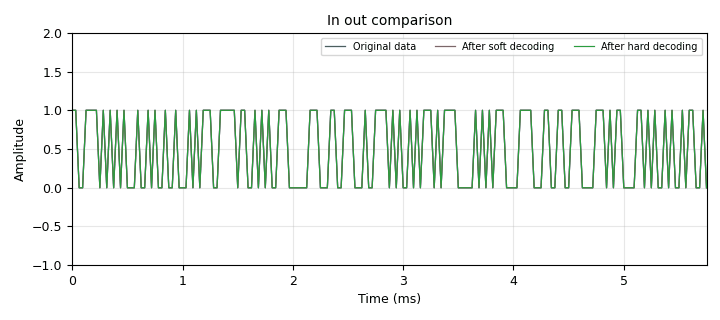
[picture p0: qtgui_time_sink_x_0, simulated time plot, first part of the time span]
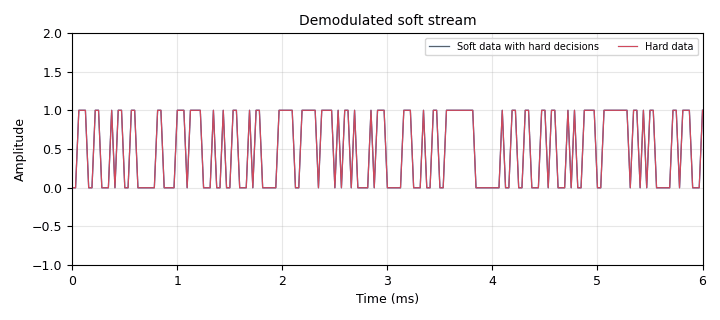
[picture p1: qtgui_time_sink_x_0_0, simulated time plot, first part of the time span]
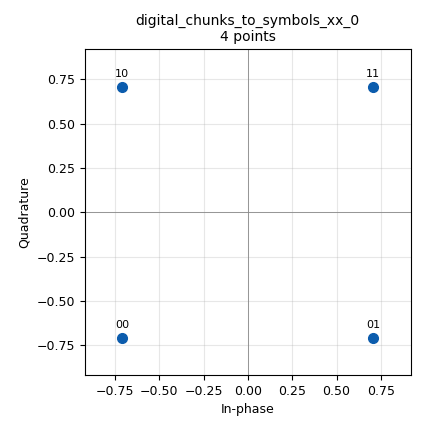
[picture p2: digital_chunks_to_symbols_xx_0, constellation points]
<?xml version='1.0' encoding='utf-8'?>
<?grc format='1' created='3.7.11'?>
<flow_graph>
<block>
<key>options</key>
<param><key>id</key><value>test_fec</value></param>
<param><key>generate_options</key><value>qt_gui</value></param>
</block>
<block>
<key>variable</key>
<param><key>id</key><value>constel</value></param>
<param><key>value</key><value>digital.constellation_qpsk()</value></param>
</block>
<block>
<key>variable_cc_decoder_def</key>
<param><key>id</key><value>dec_cc_1</value></param>
<param><key>padding</key><value>False</value></param>
<param><key>k</key><value>k</value></param>
<param><key>state_end</key><value>-1</value></param>
<param><key>framebits</key><value>frame_size*8</value></param>
<param><key>ndim</key><value>0</value></param>
<param><key>polys</key><value>polys</value></param>
<param><key>rate</key><value>rate</value></param>
<param><key>state_start</key><value>0</value></param>
<param><key>mode</key><value>fec.CC_STREAMING</value></param>
</block>
<block>
<key>variable_cc_decoder_def</key>
<param><key>id</key><value>dec_cc_2</value></param>
<param><key>padding</key><value>False</value></param>
<param><key>k</key><value>k</value></param>
<param><key>state_end</key><value>-1</value></param>
<param><key>framebits</key><value>frame_size*8</value></param>
<param><key>ndim</key><value>0</value></param>
<param><key>polys</key><value>polys</value></param>
<param><key>rate</key><value>rate</value></param>
<param><key>state_start</key><value>0</value></param>
<param><key>mode</key><value>fec.CC_STREAMING</value></param>
</block>
<block>
<key>variable_cc_encoder_def</key>
<param><key>id</key><value>enc_cc</value></param>
<param><key>padding</key><value>False</value></param>
<param><key>k</key><value>k</value></param>
<param><key>framebits</key><value>frame_size*8</value></param>
<param><key>ndim</key><value>0</value></param>
<param><key>polys</key><value>polys</value></param>
<param><key>rate</key><value>rate</value></param>
<param><key>state_start</key><value>0</value></param>
<param><key>mode</key><value>fec.CC_STREAMING</value></param>
</block>
<block>
<key>variable</key>
<param><key>id</key><value>k</value></param>
<param><key>value</key><value>7</value></param>
</block>
<block>
<key>variable</key>
<param><key>id</key><value>mtu</value></param>
<param><key>value</key><value>1000</value></param>
</block>
<block>
<key>variable</key>
<param><key>id</key><value>packlen</value></param>
<param><key>value</key><value>50</value></param>
</block>
<block>
<key>variable</key>
<param><key>id</key><value>polys</value></param>
<param><key>value</key><value>[109, 79]</value></param>
</block>
<block>
<key>variable</key>
<param><key>id</key><value>rate</value></param>
<param><key>value</key><value>2</value></param>
</block>
<block>
<key>variable_qtgui_range</key>
<param><key>id</key><value>samp_rate</value></param>
<param><key>value</key><value>32000</value></param>
<param><key>gui_hint</key><value>0,1,1,1</value></param>
<param><key>label</key><value>Sample rate</value></param>
<param><key>min_len</key><value>100</value></param>
<param><key>orient</key><value>Qt.Horizontal</value></param>
<param><key>start</key><value>1</value></param>
<param><key>step</key><value>10</value></param>
<param><key>stop</key><value>256000</value></param>
<param><key>rangeType</key><value>int</value></param>
<param><key>widget</key><value>slider</value></param>
</block>
<block>
<key>analog_random_source_x</key>
<param><key>id</key><value>analog_random_source_x_0</value></param>
<param><key>max</key><value>256</value></param>
<param><key>min</key><value>0</value></param>
<param><key>num_samps</key><value>1000</value></param>
<param><key>type</key><value>byte</value></param>
<param><key>repeat</key><value>True</value></param>
</block>
<block>
<key>blocks_char_to_float</key>
<param><key>id</key><value>blocks_char_to_float_0</value></param>
<param><key>scale</key><value>1</value></param>
</block>
<block>
<key>blocks_char_to_float</key>
<param><key>id</key><value>blocks_char_to_float_0_0</value></param>
<param><key>scale</key><value>1</value></param>
</block>
<block>
<key>blocks_char_to_float</key>
<param><key>id</key><value>blocks_char_to_float_0_1</value></param>
<param><key>scale</key><value>1</value></param>
</block>
<block>
<key>blocks_char_to_float</key>
<param><key>id</key><value>blocks_char_to_float_1</value></param>
<param><key>scale</key><value>1</value></param>
</block>
<block>
<key>blocks_char_to_float</key>
<param><key>id</key><value>blocks_char_to_float_1_0</value></param>
<param><key>scale</key><value>1</value></param>
</block>
<block>
<key>blocks_repack_bits_bb</key>
<param><key>id</key><value>blocks_repack_bits_bb_0</value></param>
<param><key>k</key><value>constel.bits_per_symbol()</value></param>
<param><key>l</key><value>1</value></param>
<param><key>endianness</key><value>gr.GR_MSB_FIRST</value></param>
<param><key>len_tag_key</key><value>"packet_len"</value></param>
</block>
<block>
<key>blocks_repack_bits_bb</key>
<param><key>id</key><value>blocks_repack_bits_bb_0_1_1_0</value></param>
<param><key>k</key><value>1</value></param>
<param><key>l</key><value>constel.bits_per_symbol()</value></param>
<param><key>endianness</key><value>gr.GR_MSB_FIRST</value></param>
<param><key>len_tag_key</key><value>"packet_len"</value></param>
</block>
<block>
<key>blocks_stream_to_tagged_stream</key>
<param><key>id</key><value>blocks_stream_to_tagged_stream_0</value></param>
<param><key>len_tag_key</key><value>"packet_len"</value></param>
<param><key>packet_len</key><value>packlen</value></param>
<param><key>type</key><value>byte</value></param>
</block>
<block>
<key>blocks_tagged_stream_multiply_length</key>
<param><key>id</key><value>blocks_tagged_stream_multiply_length_0</value></param>
<param><key>type</key><value>float</value></param>
<param><key>c</key><value>2</value></param>
<param><key>lengthtagname</key><value>"packet_len"</value></param>
</block>
<block>
<key>blocks_throttle</key>
<param><key>id</key><value>blocks_throttle_0</value></param>
<param><key>samples_per_second</key><value>samp_rate</value></param>
<param><key>type</key><value>byte</value></param>
</block>
<block>
<key>blocks_uchar_to_float</key>
<param><key>id</key><value>blocks_uchar_to_float_0_1</value></param>
</block>
<block>
<key>blocks_unpack_k_bits_bb</key>
<param><key>id</key><value>blocks_unpack_k_bits_bb_0</value></param>
<param><key>k</key><value>8</value></param>
</block>
<block>
<key>digital_binary_slicer_fb</key>
<param><key>id</key><value>digital_binary_slicer_fb_0</value></param>
</block>
<block>
<key>digital_chunks_to_symbols_xx</key>
<param><key>id</key><value>digital_chunks_to_symbols_xx_0</value></param>
<param><key>dimension</key><value>1</value></param>
<param><key>in_type</key><value>byte</value></param>
<param><key>out_type</key><value>complex</value></param>
<param><key>symbol_table</key><value>constel.points()</value></param>
</block>
<block>
<key>digital_constellation_decoder_cb</key>
<param><key>id</key><value>digital_constellation_decoder_cb_0</value></param>
<param><key>constellation</key><value>constel.base()</value></param>
</block>
<block>
<key>digital_constellation_soft_decoder_cf</key>
<param><key>id</key><value>digital_constellation_soft_decoder_cf_0</value></param>
<param><key>constellation</key><value>constel.base()</value></param>
</block>
<block>
<key>digital_map_bb</key>
<param><key>id</key><value>digital_map_bb_0</value></param>
<param><key>map</key><value>[-1,1]</value></param>
</block>
<block>
<key>fec_extended_tagged_decoder</key>
<param><key>id</key><value>fec_extended_tagged_decoder_0</value></param>
<param><key>decoder_list</key><value>dec_cc_1</value></param>
<param><key>lentagname</key><value>"packet_len"</value></param>
<param><key>mtu</key><value>mtu</value></param>
<param><key>puncpat</key><value>'11'</value></param>
</block>
<block>
<key>fec_extended_tagged_decoder</key>
<param><key>id</key><value>fec_extended_tagged_decoder_0_0</value></param>
<param><key>decoder_list</key><value>dec_cc_2</value></param>
<param><key>lentagname</key><value>"packet_len"</value></param>
<param><key>mtu</key><value>mtu</value></param>
<param><key>puncpat</key><value>'11'</value></param>
</block>
<block>
<key>fec_extended_tagged_encoder</key>
<param><key>id</key><value>fec_extended_tagged_encoder_0</value></param>
<param><key>encoder_list</key><value>enc_cc</value></param>
<param><key>lentagname</key><value>"packet_len"</value></param>
<param><key>mtu</key><value>mtu</value></param>
<param><key>puncpat</key><value>'11'</value></param>
</block>
<block>
<key>parameter</key>
<param><key>id</key><value>frame_size</value></param>
<param><key>label</key><value>Frame Size</value></param>
<param><key>type</key><value>intx</value></param>
<param><key>value</key><value>60</value></param>
</block>
<block>
<key>note</key>
<param><key>id</key><value>note_1</value></param>
<param><key>note</key><value>Both FEC decoders should use a separate CC Decoder definition</value></param>
</block>
<block>
<key>note</key>
<param><key>id</key><value>note_1_0</value></param>
<param><key>note</key><value>this is in bits</value></param>
</block>
<block>
<key>parameter</key>
<param><key>id</key><value>puncpat</value></param>
<param><key>type</key><value>string</value></param>
<param><key>value</key><value>'11'</value></param>
</block>
<block>
<key>qtgui_time_sink_x</key>
<param><key>id</key><value>qtgui_time_sink_x_0</value></param>
<param><key>gui_hint</key><value>2,0,1,4</value></param>
<param><key>color1</key><value>"blue"</value></param>
<param><key>label1</key><value>"Original data"</value></param>
<param><key>color2</key><value>"red"</value></param>
<param><key>label2</key><value>"After soft decoding"</value></param>
<param><key>color3</key><value>"green"</value></param>
<param><key>label3</key><value>"After hard decoding"</value></param>
<param><key>name</key><value>"In out comparison"</value></param>
<param><key>nconnections</key><value>3</value></param>
<param><key>size</key><value>1024</value></param>
<param><key>srate</key><value>samp_rate</value></param>
<param><key>type</key><value>float</value></param>
<param><key>ymax</key><value>2</value></param>
</block>
<block>
<key>qtgui_time_sink_x</key>
<param><key>id</key><value>qtgui_time_sink_x_0_0</value></param>
<param><key>gui_hint</key><value>3,0,1,4</value></param>
<param><key>color1</key><value>"blue"</value></param>
<param><key>label1</key><value>"Soft data with hard decisions"</value></param>
<param><key>color2</key><value>"red"</value></param>
<param><key>label2</key><value>"Hard data"</value></param>
<param><key>name</key><value>"Demodulated soft stream"</value></param>
<param><key>nconnections</key><value>2</value></param>
<param><key>size</key><value>1024</value></param>
<param><key>srate</key><value>samp_rate</value></param>
<param><key>tr_level</key><value>0.5</value></param>
<param><key>tr_mode</key><value>qtgui.TRIG_MODE_TAG</value></param>
<param><key>tr_tag</key><value>"packet_len"</value></param>
<param><key>type</key><value>float</value></param>
<param><key>ymax</key><value>2</value></param>
</block>
<block>
<key>virtual_sink</key>
<param><key>id</key><value>virtual_sink_0</value></param>
<param><key>stream_id</key><value>mod_stream</value></param>
</block>
<block>
<key>virtual_source</key>
<param><key>id</key><value>virtual_source_0</value></param>
<param><key>stream_id</key><value>mod_stream</value></param>
</block>
<block>
<key>virtual_source</key>
<param><key>id</key><value>virtual_source_0_0</value></param>
<param><key>stream_id</key><value>mod_stream</value></param>
</block>
<connection><source_block_id>analog_random_source_x_0</source_block_id><sink_block_id>blocks_throttle_0</sink_block_id><source_key>0</source_key><sink_key>0</sink_key></connection>
<connection><source_block_id>blocks_char_to_float_0</source_block_id><sink_block_id>fec_extended_tagged_decoder_0_0</sink_block_id><source_key>0</source_key><sink_key>0</sink_key></connection>
<connection><source_block_id>blocks_char_to_float_0_0</source_block_id><sink_block_id>qtgui_time_sink_x_0_0</sink_block_id><source_key>0</source_key><sink_key>0</sink_key></connection>
<connection><source_block_id>blocks_char_to_float_0_1</source_block_id><sink_block_id>qtgui_time_sink_x_0_0</sink_block_id><source_key>0</source_key><sink_key>1</sink_key></connection>
<connection><source_block_id>blocks_char_to_float_1</source_block_id><sink_block_id>qtgui_time_sink_x_0</sink_block_id><source_key>0</source_key><sink_key>1</sink_key></connection>
<connection><source_block_id>blocks_char_to_float_1_0</source_block_id><sink_block_id>qtgui_time_sink_x_0</sink_block_id><source_key>0</source_key><sink_key>2</sink_key></connection>
<connection><source_block_id>blocks_repack_bits_bb_0</source_block_id><sink_block_id>blocks_char_to_float_0_1</sink_block_id><source_key>0</source_key><sink_key>0</sink_key></connection>
<connection><source_block_id>blocks_repack_bits_bb_0</source_block_id><sink_block_id>digital_map_bb_0</sink_block_id><source_key>0</source_key><sink_key>0</sink_key></connection>
<connection><source_block_id>blocks_repack_bits_bb_0_1_1_0</source_block_id><sink_block_id>digital_chunks_to_symbols_xx_0</sink_block_id><source_key>0</source_key><sink_key>0</sink_key></connection>
<connection><source_block_id>blocks_stream_to_tagged_stream_0</source_block_id><sink_block_id>blocks_uchar_to_float_0_1</sink_block_id><source_key>0</source_key><sink_key>0</sink_key></connection>
<connection><source_block_id>blocks_stream_to_tagged_stream_0</source_block_id><sink_block_id>fec_extended_tagged_encoder_0</sink_block_id><source_key>0</source_key><sink_key>0</sink_key></connection>
<connection><source_block_id>blocks_tagged_stream_multiply_length_0</source_block_id><sink_block_id>digital_binary_slicer_fb_0</sink_block_id><source_key>0</source_key><sink_key>0</sink_key></connection>
<connection><source_block_id>blocks_tagged_stream_multiply_length_0</source_block_id><sink_block_id>fec_extended_tagged_decoder_0</sink_block_id><source_key>0</source_key><sink_key>0</sink_key></connection>
<connection><source_block_id>blocks_throttle_0</source_block_id><sink_block_id>blocks_unpack_k_bits_bb_0</sink_block_id><source_key>0</source_key><sink_key>0</sink_key></connection>
<connection><source_block_id>blocks_uchar_to_float_0_1</source_block_id><sink_block_id>qtgui_time_sink_x_0</sink_block_id><source_key>0</source_key><sink_key>0</sink_key></connection>
<connection><source_block_id>blocks_unpack_k_bits_bb_0</source_block_id><sink_block_id>blocks_stream_to_tagged_stream_0</sink_block_id><source_key>0</source_key><sink_key>0</sink_key></connection>
<connection><source_block_id>digital_binary_slicer_fb_0</source_block_id><sink_block_id>blocks_char_to_float_0_0</sink_block_id><source_key>0</source_key><sink_key>0</sink_key></connection>
<connection><source_block_id>digital_chunks_to_symbols_xx_0</source_block_id><sink_block_id>virtual_sink_0</sink_block_id><source_key>0</source_key><sink_key>0</sink_key></connection>
<connection><source_block_id>digital_constellation_decoder_cb_0</source_block_id><sink_block_id>blocks_repack_bits_bb_0</sink_block_id><source_key>0</source_key><sink_key>0</sink_key></connection>
<connection><source_block_id>digital_constellation_soft_decoder_cf_0</source_block_id><sink_block_id>blocks_tagged_stream_multiply_length_0</sink_block_id><source_key>0</source_key><sink_key>0</sink_key></connection>
<connection><source_block_id>digital_map_bb_0</source_block_id><sink_block_id>blocks_char_to_float_0</sink_block_id><source_key>0</source_key><sink_key>0</sink_key></connection>
<connection><source_block_id>fec_extended_tagged_decoder_0</source_block_id><sink_block_id>blocks_char_to_float_1</sink_block_id><source_key>0</source_key><sink_key>0</sink_key></connection>
<connection><source_block_id>fec_extended_tagged_decoder_0_0</source_block_id><sink_block_id>blocks_char_to_float_1_0</sink_block_id><source_key>0</source_key><sink_key>0</sink_key></connection>
<connection><source_block_id>fec_extended_tagged_encoder_0</source_block_id><sink_block_id>blocks_repack_bits_bb_0_1_1_0</sink_block_id><source_key>0</source_key><sink_key>0</sink_key></connection>
<connection><source_block_id>virtual_source_0</source_block_id><sink_block_id>digital_constellation_soft_decoder_cf_0</sink_block_id><source_key>0</source_key><sink_key>0</sink_key></connection>
<connection><source_block_id>virtual_source_0_0</source_block_id><sink_block_id>digital_constellation_decoder_cb_0</sink_block_id><source_key>0</source_key><sink_key>0</sink_key></connection>
</flow_graph>
